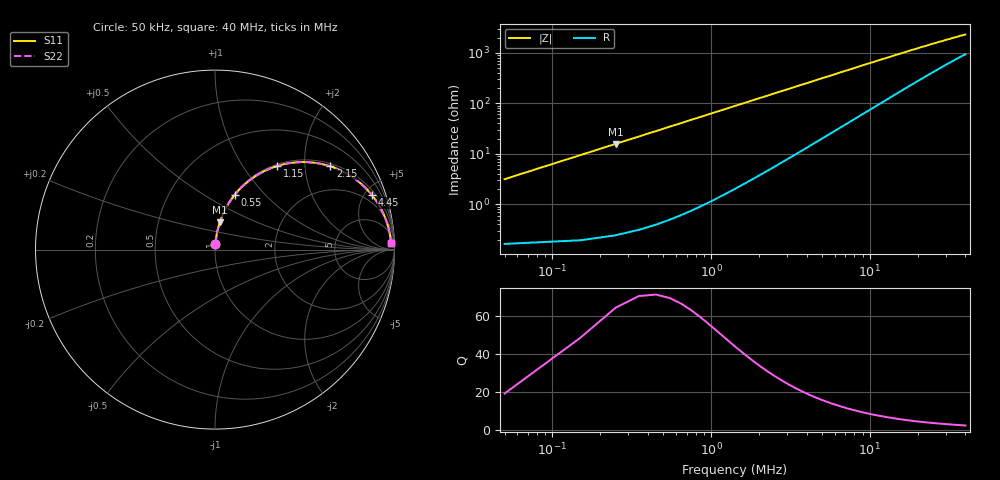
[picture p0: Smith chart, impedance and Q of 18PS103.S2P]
! Coilcraft 1812PS-103 Power Chip Inductor
! 1 October 2002
# MHZ S MA R 50
!Freq  MagS11  AngS11  MagS21  AngS21  MagS12  AngS12  MagS22  AngS22
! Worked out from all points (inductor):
!   401 points, 50 kHz to 40 MHz, reference 50 ohm
!   read as one part in series: L = 10 uH near 250 kHz
!   highest Q = 64.3 at 250 kHz (marker M1), where L = 10 uH
!   S11 on the Smith chart (normalised r, x): 50 kHz: 1.00, +0.06; 550 kHz: 1.01, +0.69; 1.15 MHz: 1.03, +1.45; 2.15 MHz: 1.08, +2.70; 4.45 MHz: 1.32, +5.58; 40 MHz: 20, +42
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0.05  0.0314 85.2  0.9979 -1.8  0.9979 -1.8  0.0314 85.2
0.15  0.09374 83.4  0.9937 -5.4  0.9937 -5.4  0.09374 83.4
0.25  0.155 80.2  0.9855 -8.9  0.9855 -8.9  0.155 80.2
0.35  0.2143 76.8  0.9737 -12.4  0.9737 -12.4  0.2143 76.8
0.45  0.2713 73.5  0.9587 -15.7  0.9587 -15.7  0.2713 73.5
0.55  0.3255 70.2  0.9409 -19.0  0.9409 -19.0  0.3255 70.2
0.65  0.3764 67.0  0.9208 -22.1  0.9208 -22.1  0.3764 67.0
0.85  0.4682 61.1  0.8758 -27.9  0.8758 -27.9  0.4682 61.1
1.15  0.5806 53.4  0.8028 -35.5  0.8028 -35.5  0.5806 53.4
1.65  0.711 43.2  0.6853 -45.3  0.6853 -45.3  0.711 43.2
2.15  0.7922 35.9  0.5861 -52.4  0.5861 -52.4  0.7922 35.9
2.65  0.8437 30.4  0.5065 -57.5  0.5065 -57.5  0.8437 30.4
3.15  0.8776 26.3  0.4434 -61.3  0.4434 -61.3  0.8776 26.3
3.75  0.9045 22.6  0.384 -64.6  0.384 -64.6  0.9045 22.6
4.45  0.9248 19.3  0.331 -67.4  0.331 -67.4  0.9248 19.3
6.75  0.9555 13.0  0.2258 -72.2  0.2258 -72.2  0.9555 13.0
9.75  0.9689 9.1  0.1591 -74.2  0.1591 -74.2  0.9689 9.1
13.45  0.9751 6.6  0.1167 -74.4  0.1167 -74.4  0.9751 6.6
20.05  0.9791 4.5  0.07967 -72.6  0.07967 -72.6  0.9791 4.5
26.75  0.9806 3.3  0.06091 -69.8  0.06091 -69.8  0.9806 3.3
33.35  0.9814 2.7  0.04996 -66.8  0.04996 -66.8  0.9814 2.7
40  0.9818 2.2  0.04273 -63.7  0.04273 -63.7  0.9818 2.2
